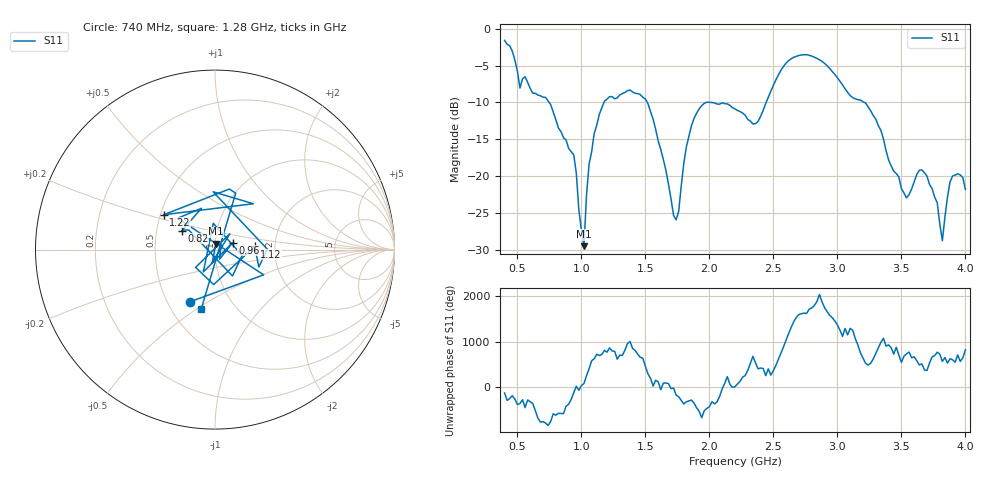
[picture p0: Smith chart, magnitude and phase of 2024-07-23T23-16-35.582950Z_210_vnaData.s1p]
!Created with skrf (http://scikit-rf.org).
# Hz S RI R 50.0
!freq ReS11 ImS11
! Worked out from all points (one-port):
!   181 points, 400 MHz to 4 GHz, reference 50 ohm
!   lowest |S11| = -29.5 dB at 1.02 GHz (marker M1), VSWR 1.07, Z = 50.3 + j3.36 ohm
!   |S11| at or under -10 dB: 1.515 GHz to 1.975 GHz (460.6 MHz wide, 26.4 % of centre); 2.01 GHz to 2.443 GHz (433.5 MHz wide, 19.5 % of centre); 3.211 GHz to end of sweep (the widest 3 of 4)
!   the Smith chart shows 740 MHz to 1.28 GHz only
!   S11 on the Smith chart (normalised r, x): 740 MHz: 0.65, -0.42; 820 MHz: 0.68, +0.15; 960 MHz: 1.21, +0.09; 1.12 GHz: 1.57, +0.06; 1.22 GHz: 0.52, +0.23; 1.28 GHz: 0.70, -0.52
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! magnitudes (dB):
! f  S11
! 400 MHz  -1.6
! 520 MHz  -8.1
! 740 MHz  -9.8
! 820 MHz  -13.4
! 860 MHz  -14.8
! 960 MHz  -19.6
! 1.02 GHz  -29.5
! 1.06 GHz  -18.3
! 1.12 GHz  -13.1
! 1.22 GHz  -9.2
! 1.28 GHz  -9.4
! 1.3 GHz  -9.0
! 1.52 GHz  -10.2
! 1.72 GHz  -25.3
! 1.76 GHz  -24.8
! 1.82 GHz  -16.0
! 1.9 GHz  -11.5
! 2.2 GHz  -10.9
! 2.38 GHz  -12.6
! 2.66 GHz  -3.9
! 3.1 GHz  -9.1
! 3.3 GHz  -12.3
! 3.56 GHz  -22.5
! 3.7 GHz  -20.0
! 3.78 GHz  -23.6
! 3.82 GHz  -28.7
! 3.9 GHz  -20.0
! 4 GHz  -21.8
